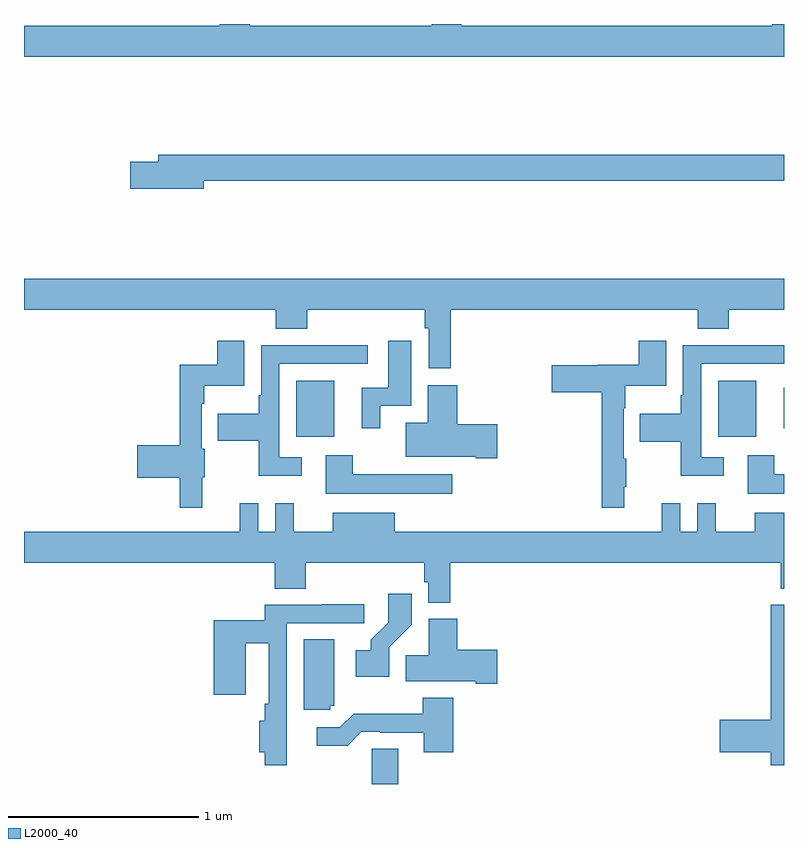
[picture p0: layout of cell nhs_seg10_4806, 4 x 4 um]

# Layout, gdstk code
import gdstk
lib = gdstk.Library(unit=1e-6, precision=1e-09)
def R(c, l, rs):  # rectangles x0, y0, x1, y1
    for r in rs: c.add(gdstk.rectangle(r[:2], r[2:], *l))
def P(c, l, *ps):  # polygons
    for p in ps: c.add(gdstk.Polygon(p, *l))
L2000_40 = (2000, 40)

nhs_seg10_4806 = lib.new_cell('nhs_seg10_4806')
R(nhs_seg10_4806, L2000_40, [(388.83,1284.5,388.969,1284.686), (388.433,1286.327,388.633,1286.623), (390.653,1286.327,390.853,1286.623), (390.998,1286.373,391,1286.586)])
P(nhs_seg10_4806, L2000_40, [(391,1288.5),(390.937,1288.5),(390.937,1288.492),(389.3,1288.492),(389.3,1288.5),(389.147,1288.5),(389.147,1288.492),(388.187,1288.492),(388.187,1288.5),(388.031,1288.5),(388.031,1288.492),(387,1288.492),(387,1288.328),(391,1288.328)],
  [(387.946,1287.676),(391,1287.676),(391,1287.812),(387.707,1287.812),(387.707,1287.776),(387.558,1287.776),(387.558,1287.634),(387.946,1287.634)],
  [(389.246,1286.996),(390.545,1286.996),(390.545,1286.897),(390.71,1286.897),(390.71,1286.996),(391,1286.996),(391,1287.16),(387,1287.16),(387,1286.996),(388.325,1286.996),(388.325,1286.897),(388.49,1286.897),(388.49,1286.996),(389.11,1286.996),(389.11,1286.9),(389.13,1286.9),(389.13,1286.688),(389.246,1286.688)],
  [(387.938,1286.115),(387.951,1286.115),(387.951,1286.265),(387.936,1286.265),(387.936,1286.501),(387.949,1286.501),(387.949,1286.597),(388.159,1286.597),(388.159,1286.833),(388.016,1286.833),(388.016,1286.707),(387.82,1286.707),(387.82,1286.282),(387.597,1286.282),(387.597,1286.111),(387.82,1286.111),(387.82,1285.953),(387.938,1285.953)],
  [(390.158,1286.065),(390.169,1286.065),(390.169,1286.213),(390.156,1286.213),(390.156,1286.477),(390.165,1286.477),(390.165,1286.597),(390.379,1286.597),(390.379,1286.833),(390.236,1286.833),(390.236,1286.707),(390.021,1286.707),(390.021,1286.703),(389.778,1286.703),(389.778,1286.561),(390.04,1286.561),(390.04,1285.953),(390.158,1285.953)],
  [(388.876,1286.49),(389.038,1286.49),(389.038,1286.833),(388.916,1286.833),(388.916,1286.586),(388.778,1286.586),(388.778,1286.373),(388.876,1286.373)],
  [(388.462,1286.22),(388.344,1286.22),(388.344,1286.712),(388.81,1286.712),(388.81,1286.81),(388.573,1286.81),(388.573,1286.808),(388.248,1286.808),(388.248,1286.545),(388.236,1286.545),(388.236,1286.449),(388.021,1286.449),(388.021,1286.306),(388.236,1286.306),(388.236,1286.123),(388.462,1286.123)],
  [(390.682,1286.22),(390.564,1286.22),(390.564,1286.712),(391,1286.712),(391,1286.81),(390.793,1286.81),(390.793,1286.808),(390.468,1286.808),(390.468,1286.545),(390.456,1286.545),(390.456,1286.448),(390.241,1286.448),(390.241,1286.302),(390.456,1286.302),(390.456,1286.123),(390.682,1286.123)],
  [(389.491,1286.393),(389.279,1286.393),(389.279,1286.599),(389.126,1286.599),(389.126,1286.401),(389.009,1286.401),(389.009,1286.222),(389.378,1286.222),(389.378,1286.215),(389.491,1286.215)],
  [(391,1286.131),(390.949,1286.131),(390.949,1286.23),(390.809,1286.23),(390.809,1286.027),(391,1286.027)],
  [(389.254,1286.131),(388.729,1286.131),(388.729,1286.23),(388.589,1286.23),(388.589,1286.027),(389.254,1286.027)],
  [(389.243,1285.664),(390.983,1285.664),(390.983,1285.528),(391,1285.528),(391,1285.927),(390.845,1285.927),(390.845,1285.828),(390.641,1285.828),(390.641,1285.978),(390.543,1285.978),(390.543,1285.828),(390.453,1285.828),(390.453,1285.978),(390.356,1285.978),(390.356,1285.828),(388.951,1285.828),(388.951,1285.927),(388.625,1285.927),(388.625,1285.828),(388.421,1285.828),(388.421,1285.978),(388.323,1285.978),(388.323,1285.828),(388.233,1285.828),(388.233,1285.978),(388.136,1285.978),(388.136,1285.828),(387,1285.828),(387,1285.664),(388.319,1285.664),(388.319,1285.528),(388.484,1285.528),(388.484,1285.664),(389.107,1285.664),(389.107,1285.563),(389.127,1285.563),(389.127,1285.454),(389.243,1285.454)],
  [(388.923,1285.219),(389.042,1285.338),(389.042,1285.501),(388.917,1285.501),(388.917,1285.349),(388.826,1285.259),(388.826,1285.204),(388.746,1285.204),(388.746,1285.064),(388.923,1285.064)],
  [(388.384,1284.822),(388.383,1284.822),(388.383,1285.347),(388.792,1285.347),(388.792,1285.446),(388.567,1285.446),(388.567,1285.443),(388.267,1285.443),(388.267,1285.363),(387.998,1285.363),(387.998,1284.969),(388.168,1284.969),(388.168,1285.242),(388.287,1285.242),(388.287,1284.922),(388.267,1284.922),(388.267,1284.834),(388.238,1284.834),(388.238,1284.668),(388.267,1284.668),(388.267,1284.6),(388.384,1284.6)],
  [(391,1285.443),(390.931,1285.443),(390.931,1284.839),(390.663,1284.839),(390.663,1284.668),(390.931,1284.668),(390.931,1284.6),(391,1284.6)],
  [(389.491,1285.206),(389.279,1285.206),(389.279,1285.369),(389.129,1285.369),(389.129,1285.178),(389.008,1285.178),(389.008,1285.04),(389.378,1285.04),(389.378,1285.028),(389.491,1285.028)],
  [(388.611,1284.912),(388.633,1284.912),(388.633,1285.261),(388.472,1285.261),(388.472,1284.891),(388.611,1284.891)],
  [(389.258,1284.955),(389.098,1284.955),(389.098,1284.871),(388.735,1284.871),(388.662,1284.798),(388.542,1284.798),(388.542,1284.701),(388.703,1284.701),(388.776,1284.774),(388.876,1284.774),(388.876,1284.771),(389.105,1284.771),(389.105,1284.666),(389.258,1284.666)])

lib.write_gds('nhs_seg10_4806.gds')
